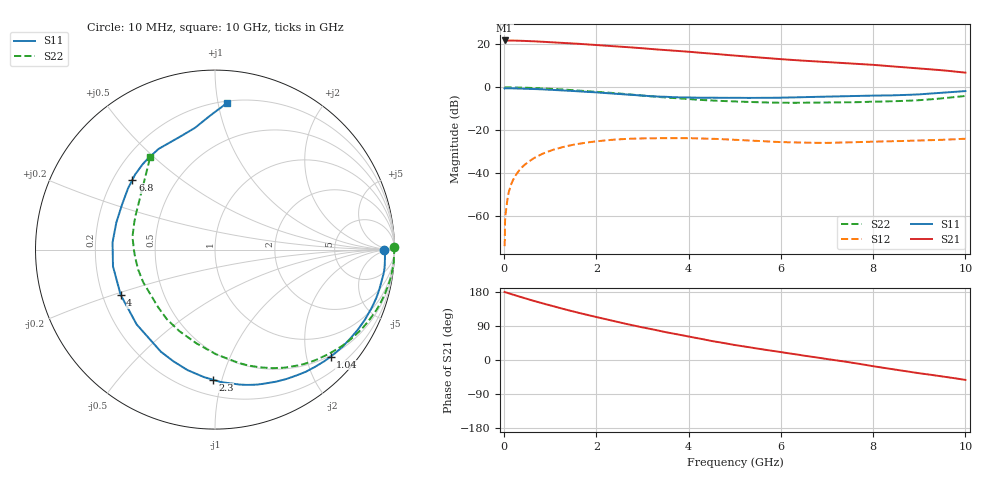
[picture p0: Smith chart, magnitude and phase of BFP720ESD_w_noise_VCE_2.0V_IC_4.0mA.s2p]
! Infineon Technologies  Discrete & RF Semiconductors
! BFP720ESD
! VCE =  2.0 V,  IC =  4.0 mA
! Common Emitter S-Parameters:  Jan 2016
# GHz  S  MA  R  50
!  f  S11  S21  S12  S22
! GHz  MAG  ANG  MAG  ANG  MAG  ANG  MAG  ANG
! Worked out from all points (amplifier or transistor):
!   233 points, 10 MHz to 10 GHz, reference 50 ohm
!   highest |S21| = 21.9 dB at 10 MHz (marker M1)
!   |S21| within 3 dB of that: start of sweep to 2.606 GHz
!   unconditionally stable (mu >= 1): 6.056 GHz to 9.518 GHz
!   at 200 MHz: K = 0.04, MSG = 32.3 dB, |S12| = -42.9 dB
!   at 1.74 GHz: K = 0.23, MSG = 23.0 dB, |S12| = -25.9 dB
!   at 10 GHz: K = 0.74, MSG = 15.4 dB, |S12| = -23.9 dB
!   lowest NFmin = 0.53 dB at 450 MHz
!   S11 on the Smith chart (normalised r, x): 10 MHz: 34, -1; 1.04 GHz: 0.48, -2.47; 2.3 GHz: 0.31, -0.93; 4 GHz: 0.28, -0.21; 6.8 GHz: 0.28, +0.34; 10 GHz: 0.21, +1.06
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0.01  0.9435 -0.1  12.38 179.5  0.0002 -106.4  0.9958 0.9
0.02  0.9547 -0.7  12.28 179.1  0.0008 89.0  0.9977 -0.3
0.045  0.9488 -1.7  12.26 177.9  0.0015 87.2  0.9983 -1.1
0.185  0.9488 -7.8  12.32 172.8  0.0067 84.4  0.9964 -5.5
0.36  0.9402 -15.0  12.17 166.3  0.0128 79.5  0.9879 -10.7
0.6  0.9223 -25.0  11.88 157.4  0.0209 72.3  0.9695 -17.6
1.04  0.8774 -42.8  11.26 142.8  0.0345 60.1  0.9224 -29.9
1.36  0.8396 -55.7  10.76 132.3  0.0428 51.6  0.8806 -38.5
1.68  0.8016 -68.0  10.23 122.6  0.0497 43.8  0.8375 -46.7
1.92  0.7736 -77.0  9.836 115.6  0.054 38.6  0.8047 -52.6
2.3  0.7245 -91.1  9.229 104.9  0.0595 30.4  0.7489 -61.7
2.78  0.666 -109.6  8.487 91.7  0.0639 20.8  0.6757 -73.3
3.4  0.6065 -132.5  7.528 76.2  0.0656 10.3  0.5927 -87.2
4  0.5831 -154.3  6.762 61.8  0.0656 2.0  0.5328 -101.1
4.5  0.576 -170.7  6.126 50.1  0.0637 -4.1  0.4954 -113.8
5.1  0.57 173.7  5.384 37.7  0.0594 -9.1  0.4661 -126.7
6  0.5755 154.1  4.542 20.7  0.0531 -11.8  0.4383 -144.8
6.8  0.6022 139.9  3.98 6.3  0.0511 -9.8  0.4396 -161.4
7.6  0.6292 126.9  3.557 -8.2  0.0528 -7.7  0.451 -179.0
8.4  0.6507 110.8  3.093 -24.0  0.0555 -8.2  0.4744 161.5
9  0.6877 99.3  2.758 -35.0  0.0578 -8.5  0.5032 146.9
10  0.8194 85.3  2.204 -52.6  0.0636 -10.7  0.6314 124.8
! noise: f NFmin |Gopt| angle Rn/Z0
0.45  0.53  0.54  6  0.16
0.9  0.56  0.53  13  0.17
1.9  0.61  0.47  34  0.15
2.4  0.66  0.44  41  0.16
5.5  0.91  0.2  122  0.09
10  1.66  0.57  -100  0.41
